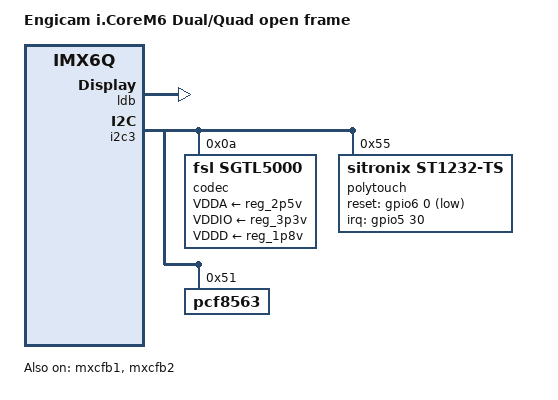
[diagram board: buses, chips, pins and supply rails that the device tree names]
/*
 * Copyright (C) 2013 Freescale Semiconductor, Inc.
 *
 * This program is free software; you can redistribute it and/or modify
 * it under the terms of the GNU General Public License version 2 as
 * published by the Free Software Foundation.
 */

/dts-v1/;

#include "imx6q.dtsi"
#include "imx6qdl-icore.dtsi"
 
/ {
	model = "Engicam i.CoreM6 Dual/Quad open frame";
	compatible = "fsl,imx6-icore", "fsl,imx6q";
};

&mxcfb1 {
	compatible = "fsl,mxc_sdc_fb";
	disp_dev = "ldb";
	interface_pix_fmt = "RGB666";
	mode_str ="Amp-WD";
	default_bpp = <16>;
	int_clk = <0>;
	late_init = <0>;
	status = "okay";
};

&mxcfb2 {
	status = "okay";
};

&ldb {
	status = "okay";

	lvds-channel@0 {
		fsl,data-mapping = "spwg";
		fsl,data-width = <18>;
		status = "okay";
		crtc = "ipu2-di0";
		primary;

		display-timings {
                        native-mode = <&timing1>;
                        timing1: hsd100pxn1 {
                                clock-frequency = <33000000>;
                                hactive = <800>;
                                vactive = <480>;
                                hback-porch = <30>;
                                hfront-porch = <30>;
                                vback-porch = <5>;
                                vfront-porch = <5>;
                                hsync-len = <64>;
                                vsync-len = <20>;
                        };
                };
	};
};

&i2c3 {

	codec: sgtl5000@0a {
		compatible = "fsl,sgtl5000";
		reg = <0x0a>;
		clocks = <&clks 201>;
		VDDA-supply = <&reg_2p5v>;
		VDDIO-supply = <&reg_3p3v>;
		VDDD-supply = <&reg_1p8v>;
	};

	polytouch: st1232_ts@55 {
		compatible = "sitronix,st1232-ts";
		reg = <0x55>;
		pinctrl-names = "default";		
		pinctrl-0 = <&pinctrl_st1232_ts>;
		interrupt-parent = <&gpio5>;
		interrupts = <30 0>;	
		reset-gpios = <&gpio6 0 1>;
	};
	
	pcf8563: rtc@51 {
		compatible = "pcf8563";
		reg = <0x51>;
	};
};


&iomuxc {
	touchpanel{
		pinctrl_st1232_ts:  st1232-tsgrp  {
			fsl,pins = <
				MX6QDL_PAD_CSI0_DAT12__GPIO5_IO30 0x1b0b0 /*interrupt*/ 
				MX6QDL_PAD_CSI0_DAT14__GPIO6_IO00 0x1b0b0 /*reset edt*/
			>;
		};
	};
	
	hog {
		pinctrl_hog: hoggrp {
			fsl,pins = <
				MX6QDL_PAD_GPIO_2__GPIO1_IO02 0x1f059
				MX6QDL_PAD_EIM_D19__GPIO3_IO19 0x1f059 /* not used pin for ADV7180 driver compatibility */
			>;
		};
	};
};
